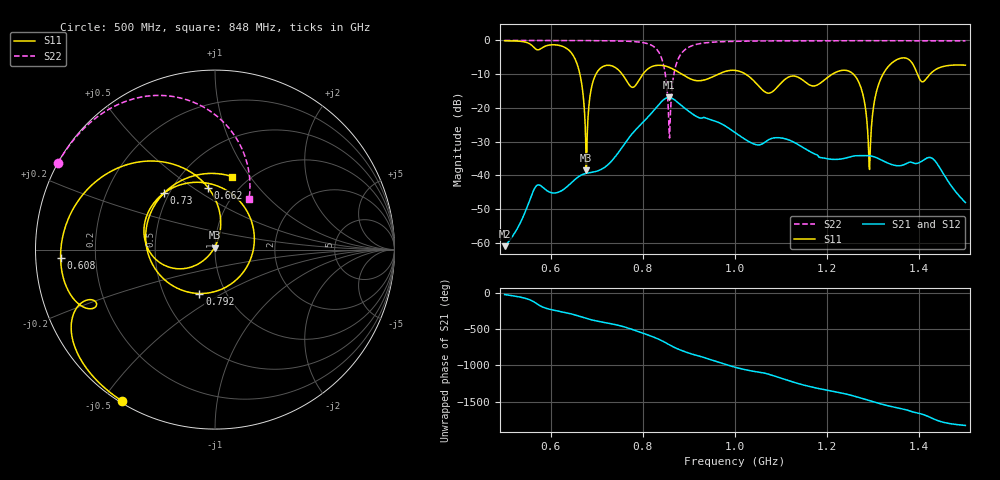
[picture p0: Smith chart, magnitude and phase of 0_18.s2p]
! TOUCHSTONE file generated by CST MICROWAVE STUDIO
! Date and time: Sat Oct 24 10:45:17 2020
! Project name: Scenario_1_Planar_Body_Tissue_Center.cst
! Parameters = {hfat=3; hmuscle=50; hskin=1.5; hgap=25; Wtissue=700; Ltissue=700; L_HA=400; MT=2.54; Rad_Dielectric=30; Rad_Lower=7.3; Rad_Upper=30; a_HA=580; a_WG=246; b_HA=500; b_WG=121; c_HA=0; c_WG=187; d_feed=85; dx1=467.44; h_feed=15; h_lower=18; h_upper=40}
! Header version: 2018
! Port assignment regex: !\s*Touchstone port\s*([0-9]+)\s*=\s*(CST MWS port|CST DS port)\s*([0-9]+|Zmin|Zmax)\s*\(\"(.*)\"\)(\s*mode\s*([0-9]+))?.*
! Touchstone port assignment:
! Touchstone port 1 = CST MWS port 1 ("")
! Touchstone port 2 = CST MWS port 2 ("")
# GHz S DB R 50
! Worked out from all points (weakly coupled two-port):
!   1003 points, 500 MHz to 1.5 GHz, reference 50 ohm
!   highest |S21| = -16.92 dB at 856 MHz (marker M1); lowest = -61.0 dB at 500 MHz (marker M2)
!   lowest |S11| = -38.5 dB at 677 MHz (marker M3), VSWR 1.02, Z = 49.7 + j1.16 ohm
!   |S11| at or under -10 dB: 884.8 MHz to 963.6 MHz (78.86 MHz wide, 8.53 % of centre); 1.023 GHz to 1.211 GHz (188.1 MHz wide, 16.8 % of centre); 1.257 GHz to 1.321 GHz (64.35 MHz wide, 4.99 % of centre)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
!   |S22| runs from -28.9 to 0.0 dB; largest |S21 - S12| = 0.0002
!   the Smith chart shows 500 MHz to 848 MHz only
!   S11 on the Smith chart (normalised r, x): 500 MHz: 0.01, -0.56; 608 MHz: 0.07, -0.03; 662 MHz: 0.73, +0.58; 730 MHz: 0.47, +0.36; 792 MHz: 0.75, -0.39; 848 MHz: 0.84, +0.83
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0.5  -0.09 -121.6  -61.01 -27.9  -61.01 -27.9  -0.01 151.2
0.569  -2.68 -157.5  -43.11 -150.8  -43.11 -150.8  -0.01 146.4
0.608  -1.29 -176.9  -45.25 115.3  -45.25 115.3  -0.02 143.5
0.662  -9.19 96.3  -40.26 33.5  -40.26 33.5  -0.04 138.9
0.667  -12.63 85.2  -39.88 23.5  -39.88 23.5  -0.04 138.4
0.677  -38.46 102.0  -39.41 4.1  -39.41 4.1  -0.05 137.4
0.695  -10.96 -160.7  -38.96 -25.2  -38.96 -25.2  -0.06 135.4
0.73  -7.45 132.3  -36.08 -68.0  -36.08 -68.0  -0.11 130.9
0.766  -12.26 28.7  -29.58 -124.7  -29.58 -124.7  -0.24 124.2
0.792  -11.71 -109.6  -25.41 179.0  -25.41 179.0  -0.48 116.2
0.834  -7.37 114.3  -19.12 78.8  -19.12 78.8  -3.36 83.3
0.848  -7.58 76.9  -17.28 34.8  -17.28 34.8  -9.39 56.0
0.856  -7.91 55.4  -16.92 6.8  -16.92 6.8  -23.06 15.6
0.888  -10.26 -32.9  -19.78 -86.4  -19.78 -86.4  -3.18 178.1
0.937  -11.58 171.5  -23.04 177.0  -23.05 177.0  -0.69 152.6
1  -8.88 -5.4  -27.31 52.8  -27.31 52.9  -0.27 140.3
1.167  -13.46 -165.6  -33.27 140.0  -33.27 140.0  -0.10 124.2
1.257  -10.01 -14.9  -34.29 18.3  -34.29 18.2  -0.08 117.4
1.292  -38.27 25.5  -34.20 -45.4  -34.20 -45.4  -0.08 114.7
1.334  -7.53 33.5  -36.51 -120.1  -36.51 -120.1  -0.09 111.5
1.427  -9.50 -10.3  -34.87 73.6  -34.87 73.6  -0.10 104.2
1.5  -7.34 -38.2  -48.05 -27.9  -48.05 -27.9  -0.13 98.0
